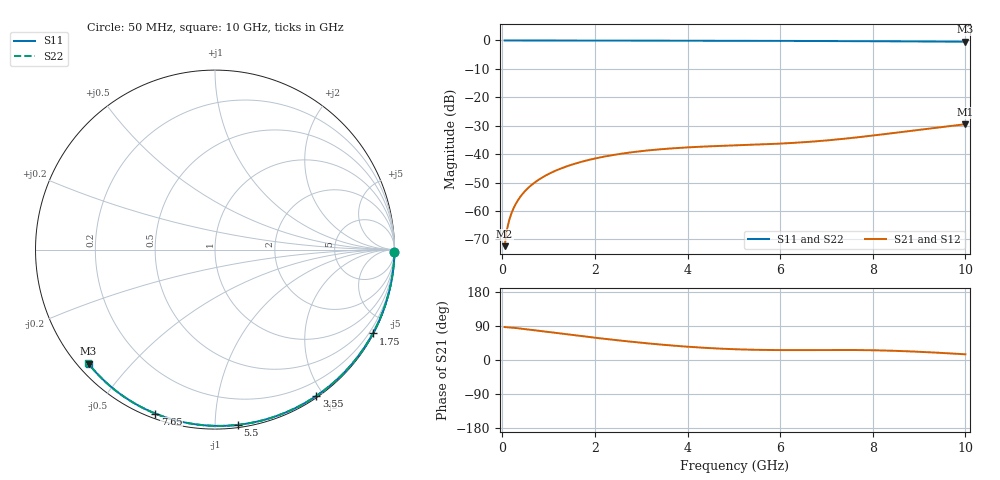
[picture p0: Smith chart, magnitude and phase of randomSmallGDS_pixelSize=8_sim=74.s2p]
! freq	dB(S11)	phase(S11)	dB(S12)	phase(S12)
!  dB(S21)	phase(S21)	dB(S22)	phase(S22)
!S-par simulation data
#  GHz  S  DB  R 50
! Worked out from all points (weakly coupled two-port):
!   200 points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, 50 MHz to 10 GHz, reference 50 ohm
!   highest |S21| = -29.45 dB at 10 GHz (marker M1); lowest = -72.4 dB at 50 MHz (marker M2)
!   lowest |S11| = -0.5 dB at 10 GHz (marker M3), VSWR 38.08, Z = 1.51 - j19.2 ohm
!   |S11| at or under -10 dB: nowhere
!   |S22| runs from -0.5 to 0.0 dB; largest |S21 - S12| = 0
!   S11 on the Smith chart (normalised r, x): 50 MHz: open; 1.75 GHz: 0.04, -4.01; 3.55 GHz: 0.02, -1.91; 5.5 GHz: 0.02, -1.14; 7.65 GHz: 0.02, -0.70; 10 GHz: 0.03, -0.38
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0.05  -0.00 -0.8  -72.36 86.9  -72.36 86.9  -0.00 -0.8
0.1  -0.00 -1.6  -66.57 86.3  -66.57 86.3  -0.00 -1.6
0.15  -0.00 -2.4  -63.15 85.9  -63.15 85.9  -0.00 -2.4
0.2  -0.00 -3.3  -60.69 85.4  -60.69 85.4  -0.00 -3.3
0.25  -0.00 -4.1  -58.78 84.9  -58.78 84.9  -0.00 -4.1
0.35  -0.00 -5.7  -55.89 83.6  -55.89 83.6  -0.00 -5.7
0.5  -0.01 -8.1  -52.83 81.4  -52.83 81.4  -0.01 -8.1
0.7  -0.01 -11.3  -49.96 78.4  -49.96 78.4  -0.01 -11.3
1  -0.02 -16.1  -46.97 73.8  -46.97 73.8  -0.02 -16.1
1.35  -0.03 -21.7  -44.52 68.4  -44.52 68.4  -0.03 -21.7
1.75  -0.04 -28.0  -42.51 62.5  -42.51 62.5  -0.04 -28.0
2.5  -0.05 -39.6  -40.01 51.9  -40.01 51.9  -0.05 -39.6
3.4  -0.07 -53.1  -38.30 41.0  -38.30 41.0  -0.07 -53.2
3.55  -0.07 -55.3  -38.10 39.4  -38.10 39.4  -0.07 -55.4
4.3  -0.09 -66.1  -37.36 32.7  -37.36 32.7  -0.09 -66.2
5.05  -0.12 -76.6  -36.89 28.3  -36.89 28.3  -0.12 -76.7
5.5  -0.13 -82.6  -36.63 26.8  -36.63 26.8  -0.13 -82.8
6.7  -0.19 -98.2  -35.57 26.3  -35.57 26.3  -0.19 -98.4
7.65  -0.25 -110.0  -34.10 26.3  -34.10 26.3  -0.25 -110.3
8.35  -0.30 -118.5  -32.75 24.7  -32.75 24.7  -0.30 -118.8
9.2  -0.37 -128.6  -31.03 20.5  -31.03 20.5  -0.37 -128.9
10  -0.46 -137.9  -29.45 15.0  -29.45 15.0  -0.46 -138.4
